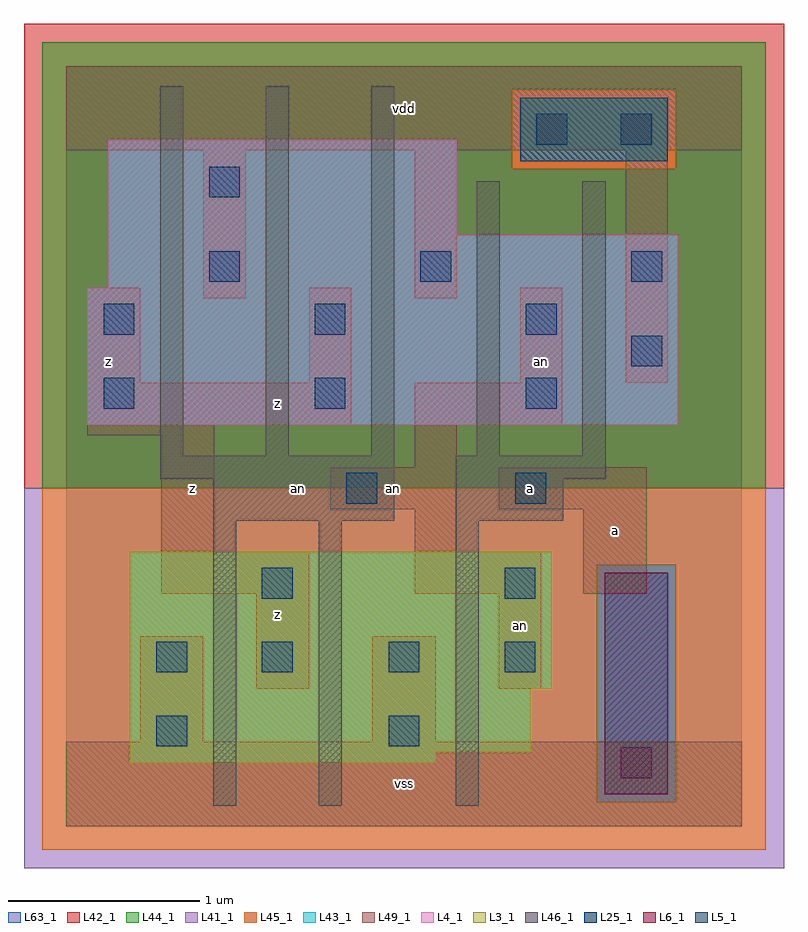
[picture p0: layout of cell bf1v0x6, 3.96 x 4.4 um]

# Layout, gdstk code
import gdstk
lib = gdstk.Library(unit=1e-6, precision=1e-09)
def R(c, l, rs):  # rectangles x0, y0, x1, y1
    for r in rs: c.add(gdstk.rectangle(r[:2], r[2:], *l))
def A(c, l, x, y, w, h, nx, ny, dx, dy):  # array of equal rectangles
    R(c, l, [(x+i*dx, y+j*dy, x+i*dx+w, y+j*dy+h) for i in range(nx) for j in range(ny)])
L3_1 = (3, 1)
L4_1 = (4, 1)
L5_1 = (5, 1)
L6_1 = (6, 1)
L25_1 = (25, 1)
L41_1 = (41, 1)
L42_1 = (42, 1)
L43_1 = (43, 1)
L44_1 = (44, 1)
L45_1 = (45, 1)
L46_1 = (46, 1)
L49_1 = (49, 1)
L63_1 = (63, 1)

bf1v0x6 = lib.new_cell('bf1v0x6')
R(bf1v0x6, L3_1, [(0.33,0.33,1.925,0.385), (0.33,0.385,2.42,0.715), (0.33,0.715,2.53,1.43)])
R(bf1v0x6, L4_1, [(0.11,2.09,3.19,2.805), (0.22,2.805,3.19,3.08), (0.22,3.08,2.035,3.575)])
R(bf1v0x6, L5_1, [(2.365,3.465,3.135,3.795)])
R(bf1v0x6, L6_1, [(2.805,0.165,3.135,1.32)])
A(bf1v0x6, L25_1, 0.195, 2.175, 0.16, 0.16, 3, 2, 1.1, 0.385)
A(bf1v0x6, L25_1, 0.745, 2.835, 0.16, 0.16, 3, 1, 1.1, 0)
R(bf1v0x6, L25_1, [(2.89,0.25,3.05,0.41), (0.47,0.415,0.63,0.575), (1.68,0.415,1.84,0.575), (0.47,0.8,0.63,0.96), (1.02,0.8,1.18,0.96), (1.68,0.8,1.84,0.96), (2.285,0.8,2.445,0.96), (1.02,1.185,1.18,1.345), (2.285,1.185,2.445,1.345), (1.46,1.68,1.62,1.84), (2.34,1.68,2.5,1.84), (2.945,2.395,3.105,2.555), (0.745,3.275,0.905,3.435), (2.45,3.55,2.61,3.71), (2.89,3.55,3.05,3.71)])
R(bf1v0x6, L41_1, [(-0.22,-0.22,3.74,1.76)])
R(bf1v0x6, L42_1, [(-0.22,1.76,3.74,4.18)])
R(bf1v0x6, L43_1, [(2.805,0.165,3.135,1.32), (0.33,0.33,1.925,0.385), (0.33,0.385,2.42,0.715), (0.33,0.715,2.53,1.43), (0.11,2.09,3.19,2.805), (0.22,2.805,3.19,3.08), (0.22,3.08,2.035,3.575), (2.365,3.465,3.135,3.795)])
R(bf1v0x6, L44_1, [(2.765,0.125,3.175,1.36), (-0.125,1.76,3.645,3.425), (-0.125,3.425,2.325,3.835), (3.175,3.425,3.645,3.835), (-0.125,3.835,3.645,4.085)])
R(bf1v0x6, L45_1, [(-0.125,-0.125,3.645,0.125), (-0.125,0.125,2.765,1.36), (3.175,0.125,3.645,1.36), (-0.125,1.36,3.645,1.76), (2.325,3.425,3.175,3.835)])
A(bf1v0x6, L46_1, 0.49, 1.93, 0.12, 1.925, 3, 1, 0.55, 0)
R(bf1v0x6, L46_1, [(0.765,0.105,0.885,1.59), (1.315,0.105,1.435,1.59), (2.03,0.105,2.15,1.59), (0.765,1.59,1.71,1.81), (2.03,1.59,2.59,1.81), (0.49,1.81,1.71,1.93), (2.03,1.81,2.81,1.93), (2.14,1.93,2.26,3.36), (2.69,1.93,2.81,3.36)])
R(bf1v0x6, L49_1, [(0,0,3.52,0.44), (0.385,0.44,0.715,0.99), (1.595,0.44,1.925,0.99), (0.99,0.715,1.265,1.21), (2.255,0.715,2.475,1.21), (0.495,1.21,1.265,1.43), (1.815,1.21,2.475,1.43), (2.695,1.21,3.025,1.65), (0.495,1.43,0.77,2.035), (1.815,1.43,2.035,1.65), (1.375,1.65,2.035,1.87), (2.255,1.65,3.025,1.87), (1.815,1.87,2.035,2.09), (0.11,2.035,0.77,2.09), (0.11,2.09,1.485,2.31), (1.815,2.09,2.585,2.31), (0.11,2.31,0.385,2.805), (1.265,2.31,1.485,2.805), (2.365,2.31,2.585,2.805), (2.915,2.31,3.135,3.52), (0.715,2.75,0.935,3.52), (1.815,2.75,2.035,3.52), (0,3.52,3.52,3.96)])
R(bf1v0x6, L63_1, [(0,0,3.52,3.96)])
bf1v0x6.add(gdstk.Label('an', (1.21,1.76), layer=46, texttype=1))
bf1v0x6.add(gdstk.Label('z', (0.66,1.76), layer=49, texttype=1))
bf1v0x6.add(gdstk.Label('z', (0.22,2.42), layer=49, texttype=1))
bf1v0x6.add(gdstk.Label('z', (1.1,1.1), layer=49, texttype=1))
bf1v0x6.add(gdstk.Label('z', (1.1,2.2), layer=49, texttype=1))
bf1v0x6.add(gdstk.Label('vss', (1.76,0.22), layer=49, texttype=1))
bf1v0x6.add(gdstk.Label('an', (2.365,1.045), layer=49, texttype=1))
bf1v0x6.add(gdstk.Label('an', (1.705,1.76), layer=49, texttype=1))
bf1v0x6.add(gdstk.Label('a', (2.42,1.76), layer=49, texttype=1))
bf1v0x6.add(gdstk.Label('an', (2.475,2.42), layer=49, texttype=1))
bf1v0x6.add(gdstk.Label('vdd', (1.76,3.74), layer=49, texttype=1))
bf1v0x6.add(gdstk.Label('a', (2.86,1.54), layer=49, texttype=1))

lib.write_gds('bf1v0x6.gds')
